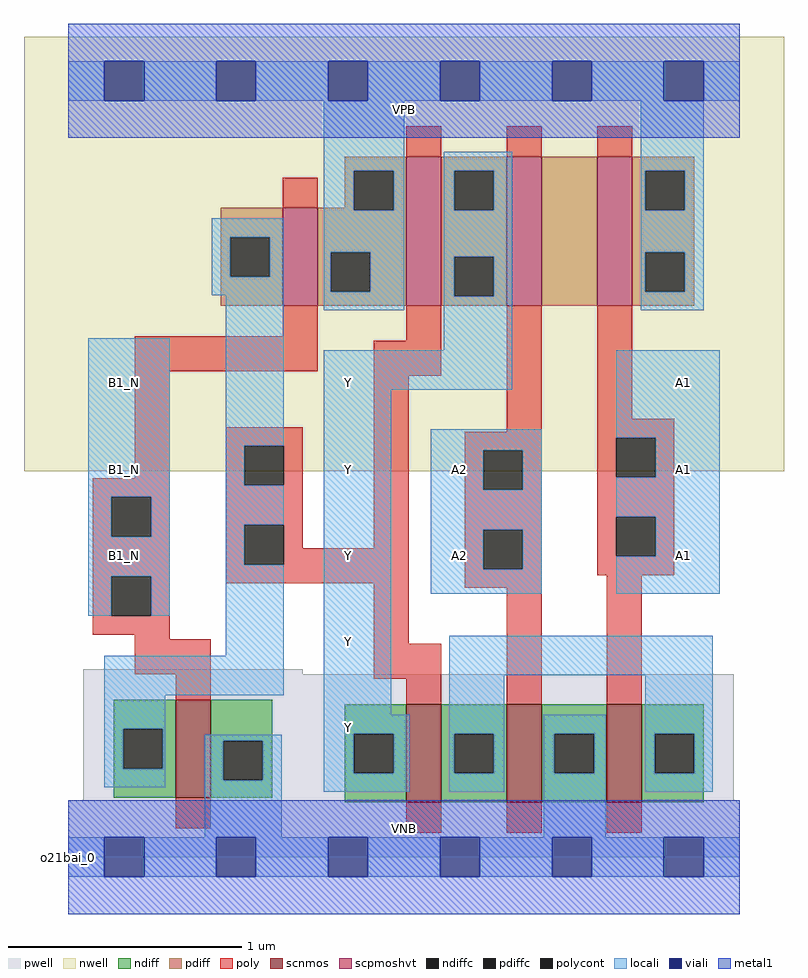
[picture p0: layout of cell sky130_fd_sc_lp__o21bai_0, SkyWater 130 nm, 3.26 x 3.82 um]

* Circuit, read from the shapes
.subckt sky130_fd_sc_lp__o21bai_0 A1 A2 B1_N VGND VNB VPB VPWR Y
XM1 VGND B1_N n1 VNB sky130_fd_pr__nfet_01v8 w=0.42 l=0.15
XM2 n2 n1 Y VNB sky130_fd_pr__nfet_01v8 w=0.42 l=0.15
XM3 VGND A2 n2 VNB sky130_fd_pr__nfet_01v8 w=0.42 l=0.15
XM4 n2 A1 VGND VNB sky130_fd_pr__nfet_01v8 w=0.42 l=0.15
XM5 VPWR B1_N n1 VPB sky130_fd_pr__pfet_01v8_hvt w=0.42 l=0.15
XM6 Y n1 VPWR VPB sky130_fd_pr__pfet_01v8_hvt w=0.64 l=0.15
XM7 n3 A2 Y VPB sky130_fd_pr__pfet_01v8_hvt w=0.64 l=0.15
XM8 VPWR A1 n3 VPB sky130_fd_pr__pfet_01v8_hvt w=0.64 l=0.15
.ends

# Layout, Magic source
magic
tech sky130A
magscale 1 2
<< nwell >>
rect -38 331 614 704
<< pwell >>
rect 13 157 201 161
rect 13 49 571 157
rect 0 0 576 49
<< scnmos >>
rect 92 51 122 135
rect 290 47 320 131
rect 376 47 406 131
rect 462 47 492 131
<< scpmoshvt >>
rect 184 473 214 557
rect 290 473 320 601
rect 376 473 406 601
rect 454 473 484 601
<< ndiff >>
rect 39 110 92 135
rect 39 76 47 110
rect 81 76 92 110
rect 39 51 92 76
rect 122 100 175 135
rect 122 66 133 100
rect 167 66 175 100
rect 122 51 175 66
rect 237 106 290 131
rect 237 72 245 106
rect 279 72 290 106
rect 237 47 290 72
rect 320 106 376 131
rect 320 72 331 106
rect 365 72 376 106
rect 320 47 376 72
rect 406 106 462 131
rect 406 72 417 106
rect 451 72 462 106
rect 406 47 462 72
rect 492 106 545 131
rect 492 72 503 106
rect 537 72 545 106
rect 492 47 545 72
<< pdiff >>
rect 237 589 290 601
rect 237 557 245 589
rect 131 532 184 557
rect 131 498 139 532
rect 173 498 184 532
rect 131 473 184 498
rect 214 555 245 557
rect 279 555 290 589
rect 214 519 290 555
rect 214 485 225 519
rect 259 485 290 519
rect 214 473 290 485
rect 320 589 376 601
rect 320 555 331 589
rect 365 555 376 589
rect 320 515 376 555
rect 320 481 331 515
rect 365 481 376 515
rect 320 473 376 481
rect 406 473 454 601
rect 484 589 537 601
rect 484 555 495 589
rect 529 555 537 589
rect 484 519 537 555
rect 484 485 495 519
rect 529 485 537 519
rect 484 473 537 485
<< ndiffc >>
rect 47 76 81 110
rect 133 66 167 100
rect 245 72 279 106
rect 331 72 365 106
rect 417 72 451 106
rect 503 72 537 106
<< pdiffc >>
rect 139 498 173 532
rect 245 555 279 589
rect 225 485 259 519
rect 331 555 365 589
rect 331 481 365 515
rect 495 555 529 589
rect 495 485 529 519
<< poly >>
rect 290 601 320 627
rect 376 601 406 627
rect 454 601 484 627
rect 184 557 214 583
rect 184 447 214 473
rect 57 417 214 447
rect 290 443 320 473
rect 57 325 87 417
rect 262 413 320 443
rect 21 309 87 325
rect 21 275 37 309
rect 71 275 87 309
rect 21 241 87 275
rect 21 207 37 241
rect 71 207 87 241
rect 135 353 201 369
rect 135 319 151 353
rect 185 319 201 353
rect 135 285 201 319
rect 135 251 151 285
rect 185 265 201 285
rect 262 265 292 413
rect 376 365 406 473
rect 185 251 292 265
rect 135 235 292 251
rect 21 191 87 207
rect 57 187 87 191
rect 57 157 122 187
rect 92 135 122 157
rect 262 183 292 235
rect 340 349 406 365
rect 340 315 356 349
rect 390 315 406 349
rect 340 281 406 315
rect 340 247 356 281
rect 390 247 406 281
rect 340 231 406 247
rect 454 376 484 473
rect 454 360 520 376
rect 454 326 470 360
rect 504 326 520 360
rect 454 292 520 326
rect 454 258 470 292
rect 504 258 520 292
rect 454 242 520 258
rect 262 153 320 183
rect 290 131 320 153
rect 376 131 406 231
rect 462 131 492 242
rect 92 25 122 51
rect 290 21 320 47
rect 376 21 406 47
rect 462 21 492 47
<< polycont >>
rect 37 275 71 309
rect 37 207 71 241
rect 151 319 185 353
rect 151 251 185 285
rect 356 315 390 349
rect 356 247 390 281
rect 470 326 504 360
rect 470 258 504 292
<< locali >>
rect 0 649 31 683
rect 65 649 127 683
rect 161 649 223 683
rect 257 649 319 683
rect 353 649 415 683
rect 449 649 511 683
rect 545 649 576 683
rect 219 589 288 649
rect 219 555 245 589
rect 279 555 288 589
rect 123 532 185 548
rect 123 498 139 532
rect 173 498 185 532
rect 123 482 185 498
rect 17 309 87 445
rect 17 275 37 309
rect 71 275 87 309
rect 17 241 87 275
rect 17 207 37 241
rect 71 207 87 241
rect 135 353 185 482
rect 219 519 288 555
rect 219 485 225 519
rect 259 485 288 519
rect 219 469 288 485
rect 322 589 381 605
rect 322 555 331 589
rect 365 555 381 589
rect 322 515 381 555
rect 322 481 331 515
rect 365 481 381 515
rect 322 435 381 481
rect 491 589 545 649
rect 491 555 495 589
rect 529 555 545 589
rect 491 519 545 555
rect 491 485 495 519
rect 529 485 545 519
rect 491 469 545 485
rect 135 319 151 353
rect 135 285 185 319
rect 135 251 151 285
rect 135 173 185 251
rect 31 139 185 173
rect 219 401 381 435
rect 31 110 83 139
rect 31 76 47 110
rect 81 76 83 110
rect 219 122 277 401
rect 311 349 406 367
rect 311 315 356 349
rect 390 315 406 349
rect 311 281 406 315
rect 311 247 356 281
rect 390 247 406 281
rect 311 226 406 247
rect 470 360 559 435
rect 504 326 559 360
rect 470 292 559 326
rect 504 258 559 292
rect 470 226 559 258
rect 327 156 553 190
rect 219 106 293 122
rect 31 60 83 76
rect 117 100 183 105
rect 117 66 133 100
rect 167 66 183 100
rect 117 17 183 66
rect 219 72 245 106
rect 279 72 293 106
rect 219 56 293 72
rect 327 106 374 156
rect 327 72 331 106
rect 365 72 374 106
rect 327 56 374 72
rect 408 106 461 122
rect 408 72 417 106
rect 451 72 461 106
rect 408 17 461 72
rect 495 106 553 156
rect 495 72 503 106
rect 537 72 553 106
rect 495 56 553 72
rect 0 -17 31 17
rect 65 -17 127 17
rect 161 -17 223 17
rect 257 -17 319 17
rect 353 -17 415 17
rect 449 -17 511 17
rect 545 -17 576 17
<< viali >>
rect 31 649 65 683
rect 127 649 161 683
rect 223 649 257 683
rect 319 649 353 683
rect 415 649 449 683
rect 511 649 545 683
rect 31 -17 65 17
rect 127 -17 161 17
rect 223 -17 257 17
rect 319 -17 353 17
rect 415 -17 449 17
rect 511 -17 545 17
<< metal1 >>
rect 0 683 576 715
rect 0 649 31 683
rect 65 649 127 683
rect 161 649 223 683
rect 257 649 319 683
rect 353 649 415 683
rect 449 649 511 683
rect 545 649 576 683
rect 0 617 576 649
rect 0 17 576 49
rect 0 -17 31 17
rect 65 -17 127 17
rect 161 -17 223 17
rect 257 -17 319 17
rect 353 -17 415 17
rect 449 -17 511 17
rect 545 -17 576 17
rect 0 -49 576 -17
<< labels >>
flabel pwell s 0 0 576 49 0 FreeSans 200 0 0 0 VNB
port 5 nsew ground bidirectional
flabel nwell s 0 617 576 666 0 FreeSans 200 0 0 0 VPB
port 6 nsew power bidirectional
rlabel comment s 0 0 0 0 4 o21bai_0
flabel metal1 s 0 617 576 666 0 FreeSans 340 0 0 0 VPWR
port 7 nsew power bidirectional
flabel metal1 s 0 0 576 49 0 FreeSans 340 0 0 0 VGND
port 4 nsew ground bidirectional
flabel locali s 511 242 545 276 0 FreeSans 340 0 0 0 A1
port 1 nsew signal input
flabel locali s 511 316 545 350 0 FreeSans 340 0 0 0 A1
port 1 nsew signal input
flabel locali s 511 390 545 424 0 FreeSans 340 0 0 0 A1
port 1 nsew signal input
flabel locali s 319 242 353 276 0 FreeSans 340 0 0 0 A2
port 2 nsew signal input
flabel locali s 319 316 353 350 0 FreeSans 340 0 0 0 A2
port 2 nsew signal input
flabel locali s 223 242 257 276 0 FreeSans 340 0 0 0 Y
port 8 nsew signal output
flabel locali s 223 316 257 350 0 FreeSans 340 0 0 0 Y
port 8 nsew signal output
flabel locali s 223 390 257 424 0 FreeSans 340 0 0 0 Y
port 8 nsew signal output
flabel locali s 31 242 65 276 0 FreeSans 340 0 0 0 B1_N
port 3 nsew signal input
flabel locali s 31 316 65 350 0 FreeSans 340 0 0 0 B1_N
port 3 nsew signal input
flabel locali s 31 390 65 424 0 FreeSans 340 0 0 0 B1_N
port 3 nsew signal input
flabel locali s 223 94 257 128 0 FreeSans 340 0 0 0 Y
port 8 nsew signal output
flabel locali s 223 168 257 202 0 FreeSans 340 0 0 0 Y
port 8 nsew signal output
<< properties >>
string LEFsite unit
string LEFclass CORE
string FIXED_BBOX 0 0 576 666
string GDS_FILE $PDKPATH/libs.ref/sky130_fd_sc_lp/gds/sky130_fd_sc_lp.gds
string LEFsymmetry X Y R90
string GDS_END 5188914
string GDS_START 5182248
<< end >>
